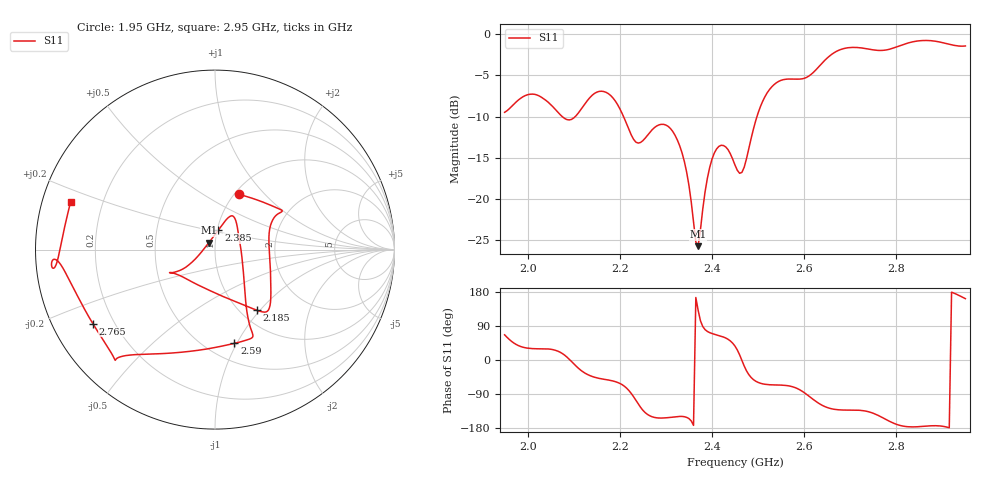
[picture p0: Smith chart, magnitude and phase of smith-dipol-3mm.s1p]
#  HZ  S  DB  R  50.00
! Rohde & Schwarz ZVB4 2Ports - Version 3.20 - 1145.1010k04 SN: 100175
! Date: 2015-11-30 18:45:16
! Measurement: S11
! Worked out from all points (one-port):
!   201 points, 1.95 GHz to 2.95 GHz, reference 50 ohm
!   lowest |S11| = -25.7 dB at 2.37 GHz (marker M1), VSWR 1.11, Z = 46.6 + j3.64 ohm
!   |S11| at or under -10 dB: 2.075 GHz to 2.103 GHz (28.26 MHz wide, 1.35 % of centre); 2.208 GHz to 2.498 GHz (289.6 MHz wide, 12.3 % of centre)
!   S11 on the Smith chart (normalised r, x): 1.95 GHz: 1.05, +0.73; 2.185 GHz: 1.19, -0.96; 2.385 GHz: 1.01, +0.22; 2.59 GHz: 0.67, -0.98; 2.765 GHz: 0.12, -0.28; 2.95 GHz: 0.08, +0.16
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1.95e9  -9.48 66.4
2e9  -7.35 31.2
2.075e9  -10.00 17.3
2.14e9  -7.42 -43.4
2.185e9  -7.73 -55.3
2.2e9  -9.05 -61.8
2.235e9  -13.10 -106.4
2.265e9  -11.91 -147.1
2.295e9  -10.94 -153.0
2.325e9  -12.86 -149.3
2.345e9  -16.71 -151.3
2.365e9  -25.19 164.9
2.37e9  -25.70 131.2
2.385e9  -19.14 80.2
2.4e9  -15.18 69.9
2.415e9  -13.61 64.3
2.45e9  -15.88 36.7
2.465e9  -16.76 -1.2
2.52e9  -7.10 -64.8
2.575e9  -5.45 -70.7
2.59e9  -5.46 -78.3
2.655e9  -2.67 -127.3
2.7e9  -1.63 -132.0
2.735e9  -1.77 -135.2
2.765e9  -1.99 -148.8
2.825e9  -1.09 -176.1
2.9e9  -1.03 -174.8
2.95e9  -1.44 161.9
